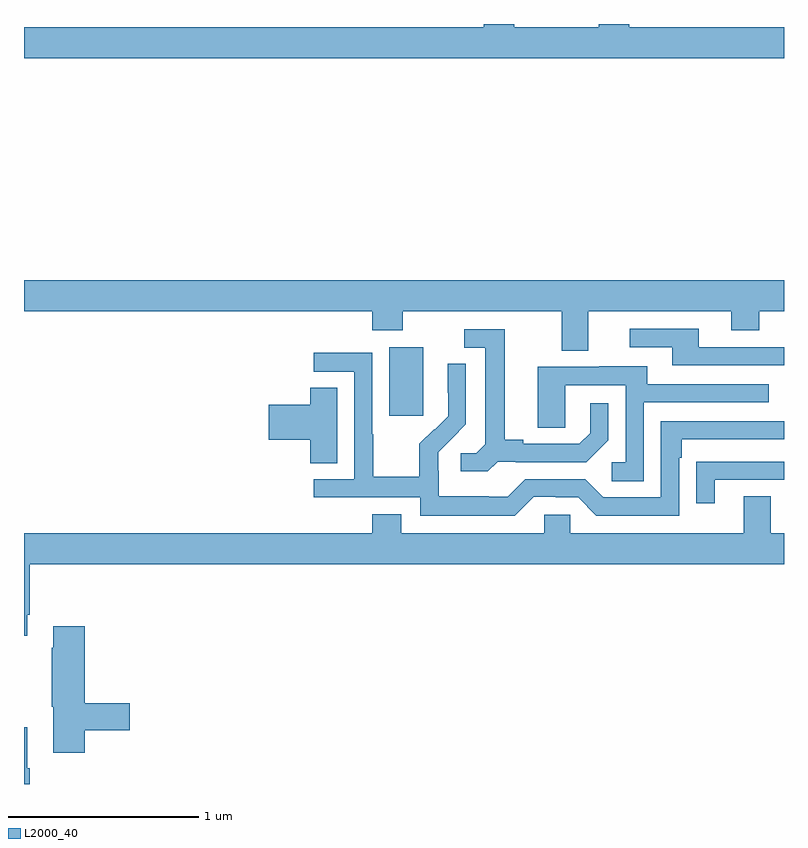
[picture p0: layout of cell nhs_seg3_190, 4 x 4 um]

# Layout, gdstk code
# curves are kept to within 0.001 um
import gdstk
lib = gdstk.Library(unit=1e-6, precision=1e-09)
def R(c, l, rs):  # rectangles x0, y0, x1, y1
    for r in rs: c.add(gdstk.rectangle(r[:2], r[2:], *l))
def P(c, l, *ps):  # polygons
    for p in ps: c.add(gdstk.Polygon(p, *l))
L2000_40 = (2000, 40)

nhs_seg3_190 = lib.new_cell('nhs_seg3_190')
R(nhs_seg3_190, L2000_40, [(120.923,728.337,121.102,728.698)])
P(nhs_seg3_190, L2000_40, [(123,730.384),(122.186,730.384),(122.186,730.4),(122.026,730.4),(122.026,730.384),(121.581,730.384),(121.581,730.4),(121.421,730.4),(121.421,730.384),(119,730.384),(119,730.22),(123,730.22)],
  [(121.969,728.888),(122.723,728.888),(122.723,728.789),(122.871,728.789),(122.871,728.888),(123,728.888),(123,729.052),(119,729.052),(119,728.888),(120.833,728.888),(120.833,728.789),(120.993,728.789),(120.993,728.888),(121.829,728.888),(121.829,728.68),(121.969,728.68)],
  [(123,728.7),(122.551,728.7),(122.551,728.796),(122.187,728.796),(122.187,728.7),(122.411,728.7),(122.411,728.604),(123,728.604)],
  [(121.494,728.097),(121.588,728.097),(121.588,728.094),(121.96,728.094),(122.076,728.21),(122.076,728.404),(121.979,728.404),(121.979,728.247),(121.922,728.19),(121.627,728.19),(121.627,728.213),(121.531,728.213),(121.531,728.793),(121.317,728.793),(121.317,728.697),(121.427,728.697),(121.427,728.189),(121.38,728.142),(121.299,728.142),(121.299,728.045),(121.442,728.045)],
  [(121.683,727.911),(121.799,727.911),(121.799,727.908),(121.917,727.908),(122.013,727.812),(122.448,727.812),(122.448,728.117),(122.461,728.117),(122.461,728.214),(123,728.214),(123,728.31),(122.352,728.31),(122.352,727.908),(122.049,727.908),(121.953,728.004),(121.638,728.004),(121.545,727.911),(121.445,727.911),(121.445,727.915),(121.182,727.915),(121.182,728.049),(121.18,728.049),(121.18,728.146),(121.326,728.294),(121.326,728.612),(121.23,728.612),(121.23,728.458),(121.232,728.458),(121.232,728.336),(121.161,728.265),(121.158,728.268),(121.081,728.191),(121.081,728.017),(120.837,728.017),(120.837,728.24),(120.834,728.24),(120.834,728.67),(120.525,728.67),(120.525,728.571),(120.738,728.571),(120.738,728.004),(120.525,728.004),(120.525,727.908),(121.086,727.908),(121.086,727.811),(121.583,727.811)],
  [(122.262,728.409),(122.921,728.409),(122.921,728.505),(122.281,728.505),(122.281,728.599),(122.027,728.599),(122.027,728.595),(121.703,728.595),(121.703,728.275),(121.848,728.275),(121.848,728.499),(122.166,728.499),(122.166,728.094),(122.094,728.094),(122.094,727.993),(122.262,727.993)],
  [(120.649,728.486),(120.506,728.486),(120.506,728.396),(120.288,728.396),(120.288,728.213),(120.506,728.213),(120.506,728.089),(120.649,728.089)],
  [(122.635,728.001),(123,728.001),(123,728.097),(122.641,728.097),(122.641,728.096),(122.539,728.096),(122.539,727.878),(122.635,727.878)],
  [(119.017,727.291),(119.03,727.291),(119.03,727.556),(123,727.556),(123,727.72),(122.929,727.72),(122.929,727.915),(122.789,727.915),(122.789,727.72),(121.875,727.72),(121.875,727.818),(121.737,727.818),(121.737,727.72),(120.985,727.72),(120.985,727.819),(120.833,727.819),(120.833,727.72),(119,727.72),(119,727.179),(119.017,727.179)],
  [(119.321,726.682),(119.557,726.682),(119.557,726.824),(119.321,726.824),(119.321,727.231),(119.153,727.231),(119.153,727.118),(119.146,727.118),(119.146,726.807),(119.153,726.807),(119.153,726.564),(119.321,726.564)],
  [(119.03,726.484),(119.017,726.484),(119.017,726.7),(119,726.7),(119,726.4),(119.03,726.4)])

lib.write_gds('nhs_seg3_190.gds')
